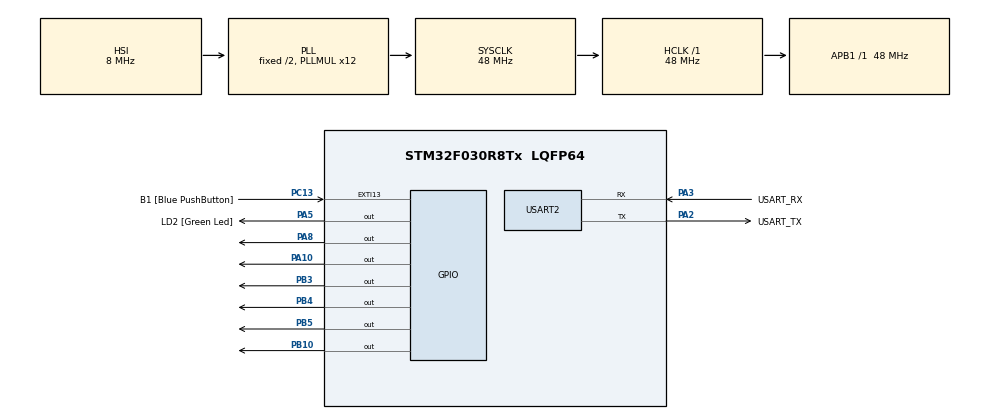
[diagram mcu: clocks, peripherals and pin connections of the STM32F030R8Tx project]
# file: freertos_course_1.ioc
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FREERTOS.Queues01=myQueue01,4,uint32_t,0,Dynamic,NULL,NULL
FREERTOS.Tasks01=myTask01,0,128,StartTask01,Default,NULL,Dynamic,NULL,NULL;myTask03,1,128,StartTask03,Default,NULL,Dynamic,NULL,NULL;myTask02,0,128,StartTask02,Default,NULL,Dynamic,NULL,NULL;myTask04,1,128,StartTask04,Default,NULL,Dynamic,NULL,NULL
FREERTOS.configMINIMAL_STACK_SIZE=96
FREERTOS.configUSE_APPLICATION_TASK_TAG=1
FREERTOS.configUSE_IDLE_HOOK=1
FREERTOS.configUSE_TASK_NOTIFICATIONS=1
FREERTOS.configUSE_TICK_HOOK=1
Mcu.Family=STM32F0
Mcu.Name=STM32F030R8Tx
Mcu.Package=LQFP64
NVIC.TIM1_BRK_UP_TRG_COM_IRQn=true\:3\:0\:false\:false\:true\:false\:false\:true\:true
NVIC.TimeBase=TIM1_BRK_UP_TRG_COM_IRQn
NVIC.TimeBaseIP=TIM1
PA10.Signal=GPIO_Output
PA13.GPIO_Label=TMS
PA13.Mode=Serial_Wire
PA13.Signal=SYS_SWDIO
PA14.GPIO_Label=TCK
PA14.Mode=Serial_Wire
PA14.Signal=SYS_SWCLK
PA2.GPIO_Label=USART_TX
PA2.GPIO_Mode=GPIO_MODE_AF_PP
PA2.GPIO_PuPd=GPIO_NOPULL
PA2.GPIO_Speed=GPIO_SPEED_FREQ_LOW
PA2.Mode=Asynchronous
PA2.Signal=USART2_TX
PA3.GPIO_Label=USART_RX
PA3.GPIO_Mode=GPIO_MODE_AF_PP
PA3.GPIO_PuPd=GPIO_NOPULL
PA3.GPIO_Speed=GPIO_SPEED_FREQ_LOW
PA3.Mode=Asynchronous
PA3.Signal=USART2_RX
PA5.GPIO_Label=LD2 [Green Led]
PA5.GPIO_Mode=GPIO_MODE_OUTPUT_PP
PA5.GPIO_PuPd=GPIO_NOPULL
PA5.GPIO_Speed=GPIO_SPEED_FREQ_LOW
PA5.Signal=GPIO_Output
PA8.Signal=GPIO_Output
PB10.Signal=GPIO_Output
PB3.Signal=GPIO_Output
PB4.Signal=GPIO_Output
PB5.Signal=GPIO_Output
PC13.GPIO_Label=B1 [Blue PushButton]
PC13.GPIO_ModeDefaultEXTI=GPIO_MODE_IT_FALLING
PC13.Signal=GPXTI13
PC14-OSC32_IN.Mode=LSE-External-Oscillator
PC14-OSC32_IN.Signal=RCC_OSC32_IN
PC15-OSC32_OUT.Mode=LSE-External-Oscillator
PC15-OSC32_OUT.Signal=RCC_OSC32_OUT
PF0-OSC_IN.Mode=HSE-External-Clock-Source
PF0-OSC_IN.Signal=RCC_OSC_IN
PF1-OSC_OUT.Signal=RCC_OSC_OUT
ProjectManager.HeapSize=0x200
ProjectManager.StackSize=0x400
ProjectManager.TargetToolchain=STM32CubeIDE
RCC.AHBFreq_Value=48000000
RCC.APB1Freq_Value=48000000
RCC.APB1TimFreq_Value=48000000
RCC.HCLKFreq_Value=48000000
RCC.PLLMUL=RCC_PLL_MUL12
RCC.SYSCLKFreq_VALUE=48000000
RCC.SYSCLKSource=RCC_SYSCLKSOURCE_PLLCLK
USART2.VirtualMode-Asynchronous=VM_ASYNC
VP_FREERTOS_VS_CMSIS_V1.Mode=CMSIS_V1
VP_SYS_VS_tim1.Mode=TIM1
board=NUCLEO-F030R8

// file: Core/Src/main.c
/* USER CODE BEGIN Header */
/**
 ******************************************************************************
 * @file           : main.c
 * @brief          : Main program body
 ******************************************************************************
 * @attention
 *
 * Copyright (c) 2025 STMicroelectronics.
 * All rights reserved.
 *
 * This software is licensed under terms that can be found in the LICENSE file
 * in the root directory of this software component.
 * If no LICENSE file comes with this software, it is provided AS-IS.
 *
 ******************************************************************************
 */
/* USER CODE END Header */
#include "main.h"
#include "cmsis_os.h"
#include "usart.h"
#include "gpio.h"

void SystemClock_Config(void);
void MX_FREERTOS_Init(void);

int main(void)
{

  /* MCU Configuration--------------------------------------------------------*/

  /* Reset of all peripherals, Initializes the Flash interface and the Systick. */
  HAL_Init();

  /* Configure the system clock */
  SystemClock_Config();

  /* Initialize all configured peripherals */
  MX_GPIO_Init();
  MX_USART2_UART_Init();

  /* Call init function for freertos objects (in cmsis_os2.c) */
  MX_FREERTOS_Init();

  /* Start scheduler */
  osKernelStart();

  /* We should never get here as control is now taken by the scheduler */

  /* Infinite loop */
  while (1)
  {

  }
}

void SystemClock_Config(void)
{
  RCC_OscInitTypeDef RCC_OscInitStruct = {0};
  RCC_ClkInitTypeDef RCC_ClkInitStruct = {0};

  /** Initializes the RCC Oscillators according to the specified parameters
  * in the RCC_OscInitTypeDef structure.
  */
  RCC_OscInitStruct.OscillatorType = RCC_OSCILLATORTYPE_HSI;
  RCC_OscInitStruct.HSIState = RCC_HSI_ON;
  RCC_OscInitStruct.HSICalibrationValue = RCC_HSICALIBRATION_DEFAULT;
  RCC_OscInitStruct.PLL.PLLState = RCC_PLL_ON;
  RCC_OscInitStruct.PLL.PLLSource = RCC_PLLSOURCE_HSI;
  RCC_OscInitStruct.PLL.PLLMUL = RCC_PLL_MUL12;
  RCC_OscInitStruct.PLL.PREDIV = RCC_PREDIV_DIV1;
  if (HAL_RCC_OscConfig(&RCC_OscInitStruct) != HAL_OK)
  {
    Error_Handler();
  }

  /** Initializes the CPU, AHB and APB buses clocks
  */
  RCC_ClkInitStruct.ClockType = RCC_CLOCKTYPE_HCLK|RCC_CLOCKTYPE_SYSCLK
                              |RCC_CLOCKTYPE_PCLK1;
  RCC_ClkInitStruct.SYSCLKSource = RCC_SYSCLKSOURCE_PLLCLK;
  RCC_ClkInitStruct.AHBCLKDivider = RCC_SYSCLK_DIV1;
  RCC_ClkInitStruct.APB1CLKDivider = RCC_HCLK_DIV1;

  if (HAL_RCC_ClockConfig(&RCC_ClkInitStruct, FLASH_LATENCY_1) != HAL_OK)
  {
    Error_Handler();
  }
}

void HAL_TIM_PeriodElapsedCallback(TIM_HandleTypeDef *htim)
{
  if (htim->Instance == TIM1) {
    HAL_IncTick();
  }
}

void Error_Handler(void)
{
  __disable_irq();
  while (1)
  {
  }
}

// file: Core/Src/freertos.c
/* USER CODE BEGIN Header */
/**
 ******************************************************************************
 * File Name          : freertos.c
 * Description        : Code for freertos applications
 ******************************************************************************
 * @attention
 *
 * Copyright (c) 2025 STMicroelectronics.
 * All rights reserved.
 *
 * This software is licensed under terms that can be found in the LICENSE file
 * in the root directory of this software component.
 * If no LICENSE file comes with this software, it is provided AS-IS.
 *
 ******************************************************************************
 */
/* USER CODE END Header */

#include "FreeRTOS.h"
#include "task.h"
#include "main.h"
#include "cmsis_os.h"

/* USER CODE BEGIN PD */
#define TASK_DEBUG
#define IDDLE_MON
/* USER CODE END PD */

osThreadId myTask01Handle;
osThreadId myTask03Handle;
osThreadId myTask02Handle;
osThreadId myTask04Handle;
osMessageQId myQueue01Handle;

/* USER CODE BEGIN FunctionPrototypes */
// переключатели для отслеживания задач
void TaskSwitchedIn(int tag)
{
#ifdef TASK_DEBUG
  switch (tag)
  {
  case 1:
    GPIOA->BSRR = GPIO_PIN_8;
    break;
  case 2:
    GPIOB->BSRR = GPIO_PIN_10;
    break;
  case 3:
    GPIOB->BSRR = GPIO_PIN_4;
    break;
  case 4:
    GPIOB->BSRR = GPIO_PIN_5;
    break;
  default:
    break;
  }
#endif
}
void TaskSwitchedOut(int tag)
{
#ifdef TASK_DEBUG
  switch (tag)
  {
  case 1:
    GPIOA->BSRR = (uint32_t)GPIO_PIN_8 << 16U;
    break;
  case 2:
    GPIOB->BSRR = (uint32_t)GPIO_PIN_10 << 16U;
    break;
  case 3:
    GPIOB->BSRR = (uint32_t)GPIO_PIN_4 << 16U;
    break;
  case 4:
    GPIOB->BSRR = (uint32_t)GPIO_PIN_5 << 16U;
    break;
  default:
    break;
  }
#endif
}
/* USER CODE END FunctionPrototypes */

void StartTask01(void const *argument);
void StartTask03(void const *argument);
void StartTask02(void const *argument);
void StartTask04(void const *argument);

void MX_FREERTOS_Init(void); /* (MISRA C 2004 rule 8.1) */

/* GetIdleTaskMemory prototype (linked to static allocation support) */
void vApplicationGetIdleTaskMemory(StaticTask_t **ppxIdleTaskTCBBuffer, StackType_t **ppxIdleTaskStackBuffer, uint32_t *pulIdleTaskStackSize);

/* Hook prototypes */
void vApplicationIdleHook(void);
void vApplicationTickHook(void);

/* USER CODE BEGIN 2 */
__weak void vApplicationIdleHook(void)
{
/* vApplicationIdleHook() will only be called if configUSE_IDLE_HOOK is set
to 1 in FreeRTOSConfig.h. It will be called on each iteration of the idle
task. It is essential that code added to this hook function never attempts
to block in any way (for example, call xQueueReceive() with a block time
specified, or call vTaskDelay()). If the application makes use of the
vTaskDelete() API function (as this demo application does) then it is also
important that vApplicationIdleHook() is permitted to return to its calling
function, because it is the responsibility of the idle task to clean up
memory allocated by the kernel to any task that has since been deleted. */
#ifdef IDDLE_MON
  // статистика простоя для анализатора
  GPIOB->BSRR = GPIO_PIN_3;
  __NOP();
  GPIOB->BSRR = (uint32_t)GPIO_PIN_3 << 16U;
#endif
}
/* USER CODE END 2 */

/* USER CODE BEGIN 3 */
__weak void vApplicationTickHook(void)
{
  /* This function will be called by each tick interrupt if
  configUSE_TICK_HOOK is set to 1 in FreeRTOSConfig.h. User code can be
  added here, but the tick hook is called from an interrupt context, so
  code must not attempt to block, and only the interrupt safe FreeRTOS API
  functions can be used (those that end in FromISR()). */

  GPIOA->BSRR = GPIO_PIN_10;
  GPIOA->BSRR = (uint32_t)GPIO_PIN_10 << 16U;
}
/* USER CODE END 3 */

/* USER CODE BEGIN GET_IDLE_TASK_MEMORY */
static StaticTask_t xIdleTaskTCBBuffer;
static StackType_t xIdleStack[configMINIMAL_STACK_SIZE];

void vApplicationGetIdleTaskMemory(StaticTask_t **ppxIdleTaskTCBBuffer, StackType_t **ppxIdleTaskStackBuffer, uint32_t *pulIdleTaskStackSize)
{
  *ppxIdleTaskTCBBuffer = &xIdleTaskTCBBuffer;
  *ppxIdleTaskStackBuffer = &xIdleStack[0];
  *pulIdleTaskStackSize = configMINIMAL_STACK_SIZE;
  /* place for user code */
}
/* USER CODE END GET_IDLE_TASK_MEMORY */

void MX_FREERTOS_Init(void)
{
  /* USER CODE BEGIN Init */

  /* Define the tasks */
  osThreadDef(myTask01, StartTask01, osPriorityNormal, 0, 128);
  osThreadDef(myTask02, StartTask02, osPriorityNormal, 0, 128);
  osThreadDef(myTask03, StartTask03, osPriorityHigh, 0, 128);
  osThreadDef(myTask04, StartTask04, osPriorityNormal, 0, 128);

  /* Start the tasks */
  myTask01Handle = osThreadCreate(osThread(myTask01), NULL);
  myTask02Handle = osThreadCreate(osThread(myTask02), NULL);
  myTask03Handle = osThreadCreate(osThread(myTask03), NULL);
  myTask04Handle = osThreadCreate(osThread(myTask04), NULL);

  /* USER CODE END Init */
  /* USER CODE BEGIN Header */
  /**
   ******************************************************************************
   * File Name          : freertos.c
   * Description        : Code for freertos applications
   ******************************************************************************
   * @attention
   *
   * Copyright (c) 2025 STMicroelectronics.
   * All rights reserved.
   *
   * This software is licensed under terms that can be found in the LICENSE file
   * in the root directory of this software component.
   * If no LICENSE file comes with this software, it is provided AS-IS.
   *
   ******************************************************************************
   */
  /* USER CODE END Header */

  /**
   * @}
   */

  /**
   * @}
   */
}

void StartTask01(void const *argument)
{
  /* USER CODE BEGIN StartTask01 */
#ifdef TASK_DEBUG
  // отмечаем выполнение задачи 1 для логического анализатора
  vTaskSetApplicationTaskTag(NULL, (void *)1);
#endif
  /* Infinite loop */
  for (;;)
  {
    // нагрузка для увеличения времени выполнения задачи
    for (int i = 0; i < 0x2F; i++)
    {
      __NOP();
    }
    osDelay(1);
  }
  /* USER CODE END StartTask01 */
}

void StartTask03(void const *argument)
{
  /* USER CODE BEGIN StartTask03 */
#ifdef TASK_DEBUG
  // отмечаем выполнение задачи 1 для логического анализатора
  vTaskSetApplicationTaskTag(NULL, (void *)3);
#endif
  /* Infinite loop */
  for (;;)
  {
    // нагрузка для увеличения времени выполнения задачи
    for (int i = 0; i < 0x2F; i++)
    {
      __NOP();
    }
    osDelay(1);
  }
  /* USER CODE END StartTask03 */
}

void StartTask02(void const *argument)
{
  /* USER CODE BEGIN StartTask02 */
#ifdef TASK_DEBUG
  // отмечаем выполнение задачи 1 для логического анализатора
  vTaskSetApplicationTaskTag(NULL, (void *)2);
#endif
  /* Infinite loop */
  for (;;)
  {
    // нагрузка для увеличения времени выполнения задачи
    for (int i = 0; i < 0x2F; i++)
    {
      __NOP();
    }
    osDelay(1);
  }
  /* USER CODE END StartTask02 */
}

void StartTask04(void const *argument)
{
  /* USER CODE BEGIN StartTask04 */
#ifdef TASK_DEBUG
  // отмечаем выполнение задачи 1 для логического анализатора
  vTaskSetApplicationTaskTag(NULL, (void *)4);
#endif
  /* Infinite loop */
  for (;;)
  {
    // нагрузка для увеличения времени выполнения задачи
    for (int i = 0; i < 0x2F; i++)
    {
      __NOP();
    }
    osDelay(1);
  }
  /* USER CODE END StartTask04 */
}
